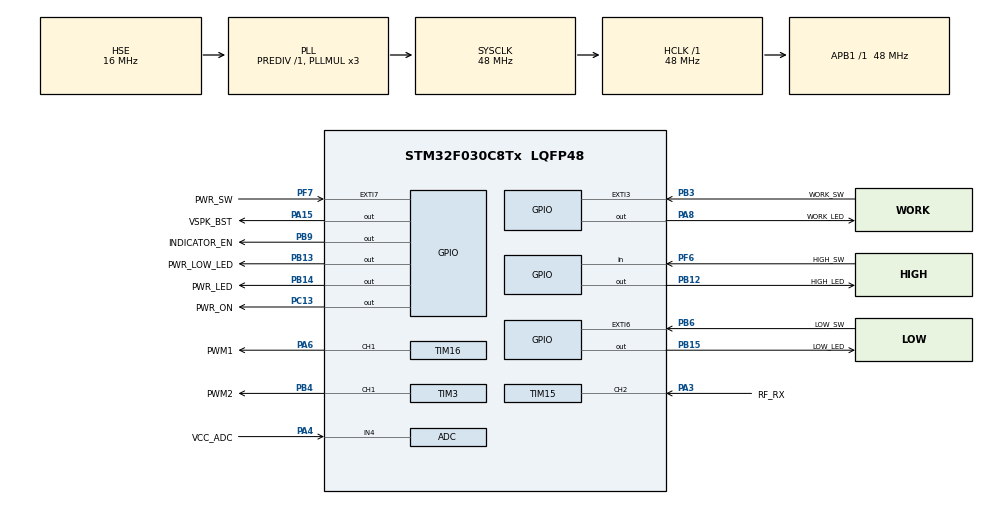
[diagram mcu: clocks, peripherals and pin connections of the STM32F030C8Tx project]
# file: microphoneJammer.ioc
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ADC.ContinuousConvMode=ENABLE
ADC.DMAContinuousRequests=ENABLE
ADC.EnableAnalogWatchDog=false
ADC.ExternalTrigConv=ADC_EXTERNALTRIGCONV_T1_TRGO
ADC.SamplingTime=ADC_SAMPLETIME_239CYCLES_5
Dma.ADC.0.Direction=DMA_PERIPH_TO_MEMORY
Dma.ADC.0.Instance=DMA1_Channel1
Dma.ADC.0.MemDataAlignment=DMA_MDATAALIGN_HALFWORD
Dma.ADC.0.MemInc=DMA_MINC_ENABLE
Dma.ADC.0.Mode=DMA_CIRCULAR
Dma.ADC.0.PeriphDataAlignment=DMA_PDATAALIGN_HALFWORD
Dma.ADC.0.PeriphInc=DMA_PINC_DISABLE
Dma.ADC.0.Priority=DMA_PRIORITY_LOW
Dma.Request0=ADC
Mcu.Family=STM32F0
Mcu.Name=STM32F030C8Tx
Mcu.Package=LQFP48
NVIC.ADC1_IRQn=true\:0\:0\:false\:false\:true\:true\:true\:true
NVIC.DMA1_Channel1_IRQn=true\:0\:0\:false\:false\:true\:false\:true\:true
NVIC.EXTI2_3_IRQn=true\:0\:0\:false\:false\:true\:true\:true\:true
NVIC.EXTI4_15_IRQn=true\:0\:0\:false\:false\:true\:true\:true\:true
NVIC.TIM14_IRQn=true\:0\:0\:false\:false\:true\:true\:true\:true
NVIC.TIM15_IRQn=true\:0\:0\:true\:false\:true\:true\:true\:true
NVIC.TIM16_IRQn=true\:0\:0\:false\:false\:true\:true\:true\:true
NVIC.TIM3_IRQn=true\:0\:0\:false\:false\:true\:true\:true\:true
PA13.Mode=Serial_Wire
PA13.Signal=SYS_SWDIO
PA14.Mode=Serial_Wire
PA14.Signal=SYS_SWCLK
PA15.GPIO_Label=VSPK_BST
PA15.Signal=GPIO_Output
PA3.GPIO_Label=RF_RX
PA3.Signal=S_TIM15_CH2
PA4.GPIO_Label=VCC_ADC
PA4.Mode=IN4
PA4.Signal=ADC_IN4
PA6.GPIO_Label=PWM1
PA6.Signal=S_TIM16_CH1
PA8.GPIO_Label=WORK_LED
PA8.Signal=GPIO_Output
PB12.GPIO_Label=HIGH_LED
PB12.Signal=GPIO_Output
PB13.GPIO_Label=PWR_LOW_LED
PB13.Signal=GPIO_Output
PB14.GPIO_Label=PWR_LED
PB14.GPIO_PuPd=GPIO_PULLDOWN
PB14.Signal=GPIO_Output
PB15.GPIO_Label=LOW_LED
PB15.Signal=GPIO_Output
PB3.GPIO_Label=WORK_SW
PB3.GPIO_ModeDefaultEXTI=GPIO_MODE_IT_FALLING
PB3.Signal=GPXTI3
PB4.GPIO_Label=PWM2
PB4.Signal=S_TIM3_CH1
PB6.GPIO_Label=LOW_SW
PB6.GPIO_ModeDefaultEXTI=GPIO_MODE_IT_FALLING
PB6.Signal=GPXTI6
PB9.GPIO_Label=INDICATOR_EN
PB9.PinState=GPIO_PIN_RESET
PB9.Signal=GPIO_Output
PC13.GPIO_Label=PWR_ON
PC13.PinState=GPIO_PIN_RESET
PC13.Signal=GPIO_Output
PF0-OSC_IN.Mode=HSE-External-Oscillator
PF0-OSC_IN.Signal=RCC_OSC_IN
PF1-OSC_OUT.Mode=HSE-External-Oscillator
PF1-OSC_OUT.Signal=RCC_OSC_OUT
PF6.GPIO_Label=HIGH_SW
PF6.Signal=GPIO_Input
PF7.GPIO_Label=PWR_SW
PF7.GPIO_ModeDefaultEXTI=GPIO_MODE_IT_FALLING
PF7.Signal=GPXTI7
ProjectManager.HeapSize=0x200
ProjectManager.StackSize=0x400
ProjectManager.TargetToolchain=CMake
RCC.AHBFreq_Value=48000000
RCC.APB1Freq_Value=48000000
RCC.APB1TimFreq_Value=48000000
RCC.EnbaleCSS=true
RCC.HCLKFreq_Value=48000000
RCC.HSE_VALUE=16000000
RCC.PLLMUL=RCC_PLL_MUL3
RCC.PLLSourceVirtual=RCC_PLLSOURCE_HSE
RCC.SYSCLKFreq_VALUE=48000000
RCC.SYSCLKSource=RCC_SYSCLKSOURCE_PLLCLK
SH.S_TIM15_CH2.0=TIM15_CH2,Input_Capture2_from_TI2
SH.S_TIM16_CH1.0=TIM16_CH1,PWM Generation1 CH1
SH.S_TIM3_CH1.0=TIM3_CH1,PWM Generation1 CH1
TIM1.AutoReloadPreload=TIM_AUTORELOAD_PRELOAD_ENABLE
TIM1.Period=124
TIM1.Prescaler=47
TIM1.TIM_MasterOutputTrigger=TIM_TRGO_UPDATE
TIM14.AutoReloadPreload=TIM_AUTORELOAD_PRELOAD_ENABLE
TIM14.Period=999
TIM14.Prescaler=47
TIM15.AutoReloadPreload=TIM_AUTORELOAD_PRELOAD_ENABLE
TIM15.Channel-Input_Capture2_from_TI2=TIM_CHANNEL_2
TIM15.ICPolarity_CH2=TIM_INPUTCHANNELPOLARITY_BOTHEDGE
TIM15.Period=65535
TIM15.Prescaler=47
TIM16.Channel=TIM_CHANNEL_1
TIM16.Period=1427
TIM16.Pulse=713
TIM3.AutoReloadPreload=TIM_AUTORELOAD_PRELOAD_ENABLE
TIM3.Channel-PWM\ Generation1\ CH1=TIM_CHANNEL_1
TIM3.OCPolarity_1=TIM_OCPOLARITY_HIGH
TIM3.Period=1919
TIM3.Pulse-PWM\ Generation1\ CH1=960
VP_TIM14_VS_ClockSourceINT.Mode=Enable_Timer
VP_TIM15_VS_ClockSourceINT.Mode=Internal
VP_TIM16_VS_ClockSourceINT.Mode=Enable_Timer
VP_TIM1_VS_ClockSourceINT.Mode=Internal
board=custom

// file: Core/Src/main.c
/* USER CODE BEGIN Header */
/**
 ******************************************************************************
 * @file           : main.c
 * @brief          : Main program body
 ******************************************************************************
 * @attention
 *
 * Copyright (c) 2026 STMicroelectronics.
 * All rights reserved.
 *
 * This software is licensed under terms that can be found in the LICENSE file
 * in the root directory of this software component.
 * If no LICENSE file comes with this software, it is provided AS-IS.
 *
 ******************************************************************************
 */
/* USER CODE END Header */
#include "main.h"

/* USER CODE BEGIN Includes */
#include <stdlib.h>
#include <stdint.h>
#include <stdbool.h>

#define Fc          25000U    // 中心频率 33kHz
#define MAX_DF      300    // 拍频最大 1000Hz
#define FRAME_SZ    30       // 帧长度50点
#define STEP_MIN    20     // 最小步长
#define STEP_MAX    20  // 最大步长
#define BASE_DF     0     // 拍频基准 150Hz
#define DUTY_ADJ    1

static uint16_t PN_seed = 0xA5A5;
uint16_t arrs[FRAME_SZ] = {};
uint16_t ccrs[FRAME_SZ] = {};
uint16_t arrs2[FRAME_SZ] = {};
uint16_t ccrs2[FRAME_SZ] = {};

// LFSR 16bit伪随机序列
static uint16_t LFSR_Next(uint16_t *seed)
{
    uint16_t bit = (*seed ^ (*seed >> 1) ^ (*seed >> 3) ^ (*seed >> 12)) & 1U;
    *seed = (*seed >> 1) | (bit << 15);
    return *seed;
}

/**
 * @brief 三角啁啾，随机步长100~200Hz，生成对称双载波数组
 * @param bufA 输出通道1频率数组
 * @param bufB 输出通道2频率数组
 */
uint8_t dutys[FRAME_SZ] = {};
void GenTriChirp_RandomStep()
{
    uint8_t i;
    int16_t df = BASE_DF;
    bool dir_up = true; // true=拍频上升；false=拍频下降
    uint16_t rnd_val = LFSR_Next(&PN_seed);
    uint16_t step = STEP_MIN + (rnd_val % (STEP_MAX - STEP_MIN + 1));

    for(i = 0; i < FRAME_SZ; i++)
    {
        if(dir_up)
        {
            df += step;
            if(df >= MAX_DF)
            {
                df = MAX_DF;
                dir_up = false; // 超过上限，切换为下降
            }
        }
        else
        {
            df -= step;
            if(df <= BASE_DF)
            {
                df = BASE_DF;
                dir_up = true; // 低于下限，切换为上升
            }
        }

        // 对称生成两路载波，中心33000  (48000000 / freqs[i]) - 1;
        arrs[i] = (48000000 / (Fc - (df / 2U))) - 1;
        ccrs[i] = ((50) * arrs[i]) / 100 + i * DUTY_ADJ; //降低占空比会影响角度干扰效果
        arrs2[i] = (48000000 / (Fc + (df / 2U))) - 1;
        ccrs2[i] = ((50) * arrs2[i]) / 100 - i * DUTY_ADJ; //降低占空比会影响角度干扰效果
    }
}

bool bfull = false;
/* USER CODE END Includes */

/* USER CODE BEGIN PTD */
typedef enum{
  PWR_SW = 1,
  WORK_SW,
  LOW_SW,
  HIGH_SW,
  START_SW,
  STOP_SW
} key_t;
typedef struct{
  GPIO_PinState work;
  GPIO_PinState high;
  GPIO_PinState low;
} state_t;
/* USER CODE END PTD */

/* USER CODE BEGIN PD */
#define SAMPLE_WINDOW 120

// 9v / (3.28v / 4096) * [10k / (53.6k + 10k)] ≈ 1767
#define PWR_LOW_RAW 1720  //为了对应电量显示模块的 0%
#define PWR_LOW_RAW_SUM 206400 // PWR_LOW_RAW * SAMPLE_WINDOW
#define PWR_LOW_RAW_SUM_2 216400 // PWR_LOW_RAW * SAMPLE_WINDOW + 10000 为了防止反复横跳

#define EV1527_SYNC_MIN 6000      // 同步码低电平最小 (us)
#define EV1527_SYNC_MAX 20000     // 同步码低电平最大 (us)
#define EV1527_BIT_TOTAL_MIN 800  // 一个位(高+低)最小总时间 (us)
#define EV1527_BIT_TOTAL_MAX 2500 // 一个位(高+低)最大总时间 (us)
#define EV1527_FRAME_LEN 24       // 24位数据
#define PAIR_FLASH_ADDR 0x0800F800 // PAIR 在 Flash 中的地址

#define TEST
/* USER CODE END PD */

ADC_HandleTypeDef hadc;
DMA_HandleTypeDef hdma_adc;

TIM_HandleTypeDef htim1;
TIM_HandleTypeDef htim3;
TIM_HandleTypeDef htim14;
TIM_HandleTypeDef htim15;
TIM_HandleTypeDef htim16;

/* USER CODE BEGIN PV */
key_t g_key = PWR_SW;
uint8_t autoSwOnce = 0;
uint32_t sysTickCnt = 0;
uint8_t blinked = 0,lastBlinked = 0;
uint8_t pwrlow = 0,pwrlow2 = 0,pwrOn = 0;//pwrlow 表示电量低
uint8_t bWorked = 0;
uint16_t adcBuf[SAMPLE_WINDOW] = {};

uint8_t g_pair = 0,g_cancelPair = 0,g_paired = 0;
state_t g_state = {0};
uint32_t g_remoteId = 0;

uint8_t pwmRun = 0;

/* USER CODE END PV */

void SystemClock_Config(void);
static void MX_GPIO_Init(void);
static void MX_DMA_Init(void);
static void MX_ADC_Init(void);
static void MX_TIM1_Init(void);
static void MX_TIM3_Init(void);
static void MX_TIM15_Init(void);
static void MX_TIM14_Init(void);
static void MX_TIM16_Init(void);
/* USER CODE BEGIN PFP */
void keyScan(void);
void stopWork(void);
void startWork(void);
uint8_t clearId();
uint32_t readId();
void recoverState();
void pwrSwitch(uint8_t bLow);
void offLeds();
void onLeds();
void genChirp(){

}
/* USER CODE END PFP */

int main(void)
{

  /* MCU Configuration--------------------------------------------------------*/

  /* Reset of all peripherals, Initializes the Flash interface and the Systick. */
    HAL_Init();

  /* Configure the system clock */
  SystemClock_Config();

  /* Initialize all configured peripherals */
  MX_GPIO_Init();
  MX_DMA_Init();
  MX_ADC_Init();
  MX_TIM1_Init();
  MX_TIM3_Init();
  MX_TIM15_Init();
  MX_TIM14_Init();
  MX_TIM16_Init();
  /* USER CODE BEGIN 2 */
  GenTriChirp_RandomStep();
  g_remoteId = readId();
  if(g_remoteId != 0xFFFFFFFF){
    g_paired = 1;
  }
  HAL_ADC_Start_DMA(&hadc, (uint32_t*)adcBuf, SAMPLE_WINDOW);
  HAL_TIM_Base_Start(&htim1);
  HAL_TIM_Base_Start_IT(&htim14);
  HAL_TIM_IC_Start_IT(&htim15, TIM_CHANNEL_2);
  HAL_TIM_PWM_Start(&htim16, TIM_CHANNEL_1);

  /* USER CODE END 2 */

  /* Infinite loop */
  /* USER CODE BEGIN WHILE */
  while (1) {
    if(pwrlow2){
      pwrlow = 1;
      continue;
    }
    if(pwrOn && pwrlow){
      static uint8_t bOnce;
      if(!bOnce){
        bOnce = 1;
        blinked = 0;
        offLeds();
        HAL_GPIO_WritePin(PWR_LED_GPIO_Port,PWR_LED_Pin,GPIO_PIN_RESET);
      }
      if(pwmRun){
        stopWork();
      }
      continue;
    }
    static uint8_t bOnce;
    if(blinked && (g_key != PWR_SW && g_key != WORK_SW && g_key != START_SW && g_key != STOP_SW)){
      if(!bOnce){
        bOnce = 1;
        sysTickCnt = 0;
      }
      if(sysTickCnt >= 600000){
        HAL_GPIO_WritePin(PWR_ON_GPIO_Port, PWR_ON_Pin, GPIO_PIN_RESET);
      }
      continue;
    }
    bOnce = 0;
    keyScan();
    if(bfull){
      bfull = 0;
      GenTriChirp_RandomStep();
    }
    /* USER CODE END WHILE */

  }
}

void SystemClock_Config(void)
{
  RCC_OscInitTypeDef RCC_OscInitStruct = {0};
  RCC_ClkInitTypeDef RCC_ClkInitStruct = {0};

  /** Initializes the RCC Oscillators according to the specified parameters
  * in the RCC_OscInitTypeDef structure.
  */
  RCC_OscInitStruct.OscillatorType = RCC_OSCILLATORTYPE_HSI14|RCC_OSCILLATORTYPE_HSE;
  RCC_OscInitStruct.HSEState = RCC_HSE_ON;
  RCC_OscInitStruct.HSI14State = RCC_HSI14_ON;
  RCC_OscInitStruct.HSI14CalibrationValue = 16;
  RCC_OscInitStruct.PLL.PLLState = RCC_PLL_ON;
  RCC_OscInitStruct.PLL.PLLSource = RCC_PLLSOURCE_HSE;
  RCC_OscInitStruct.PLL.PLLMUL = RCC_PLL_MUL3;
  RCC_OscInitStruct.PLL.PREDIV = RCC_PREDIV_DIV1;
  if (HAL_RCC_OscConfig(&RCC_OscInitStruct) != HAL_OK)
  {
    Error_Handler();
  }

  /** Initializes the CPU, AHB and APB buses clocks
  */
  RCC_ClkInitStruct.ClockType = RCC_CLOCKTYPE_HCLK|RCC_CLOCKTYPE_SYSCLK
                              |RCC_CLOCKTYPE_PCLK1;
  RCC_ClkInitStruct.SYSCLKSource = RCC_SYSCLKSOURCE_PLLCLK;
  RCC_ClkInitStruct.AHBCLKDivider = RCC_SYSCLK_DIV1;
  RCC_ClkInitStruct.APB1CLKDivider = RCC_HCLK_DIV1;

  if (HAL_RCC_ClockConfig(&RCC_ClkInitStruct, FLASH_LATENCY_1) != HAL_OK)
  {
    Error_Handler();
  }

  /** Enables the Clock Security System
  */
  HAL_RCC_EnableCSS();
}

static void MX_ADC_Init(void)
{

  ADC_ChannelConfTypeDef sConfig = {0};

  /** Configure the global features of the ADC (Clock, Resolution, Data Alignment and number of conversion)
  */
  hadc.Instance = ADC1;
  hadc.Init.ClockPrescaler = ADC_CLOCK_ASYNC_DIV1;
  hadc.Init.Resolution = ADC_RESOLUTION_12B;
  hadc.Init.DataAlign = ADC_DATAALIGN_RIGHT;
  hadc.Init.ScanConvMode = ADC_SCAN_DIRECTION_FORWARD;
  hadc.Init.EOCSelection = ADC_EOC_SINGLE_CONV;
  hadc.Init.LowPowerAutoWait = DISABLE;
  hadc.Init.LowPowerAutoPowerOff = DISABLE;
  hadc.Init.ContinuousConvMode = ENABLE;
  hadc.Init.DiscontinuousConvMode = DISABLE;
  hadc.Init.ExternalTrigConv = ADC_EXTERNALTRIGCONV_T1_TRGO;
  hadc.Init.ExternalTrigConvEdge = ADC_EXTERNALTRIGCONVEDGE_RISING;
  hadc.Init.DMAContinuousRequests = ENABLE;
  hadc.Init.Overrun = ADC_OVR_DATA_PRESERVED;
  if (HAL_ADC_Init(&hadc) != HAL_OK)
  {
    Error_Handler();
  }

  /** Configure for the selected ADC regular channel to be converted.
  */
  sConfig.Channel = ADC_CHANNEL_4;
  sConfig.Rank = ADC_RANK_CHANNEL_NUMBER;
  sConfig.SamplingTime = ADC_SAMPLETIME_239CYCLES_5;
  if (HAL_ADC_ConfigChannel(&hadc, &sConfig) != HAL_OK)
  {
    Error_Handler();
  }

}

static void MX_TIM1_Init(void)
{

  TIM_ClockConfigTypeDef sClockSourceConfig = {0};
  TIM_MasterConfigTypeDef sMasterConfig = {0};

  htim1.Instance = TIM1;
  htim1.Init.Prescaler = 47;
  htim1.Init.CounterMode = TIM_COUNTERMODE_UP;
  htim1.Init.Period = 124;
  htim1.Init.ClockDivision = TIM_CLOCKDIVISION_DIV1;
  htim1.Init.RepetitionCounter = 0;
  htim1.Init.AutoReloadPreload = TIM_AUTORELOAD_PRELOAD_ENABLE;
  if (HAL_TIM_Base_Init(&htim1) != HAL_OK)
  {
    Error_Handler();
  }
  sClockSourceConfig.ClockSource = TIM_CLOCKSOURCE_INTERNAL;
  if (HAL_TIM_ConfigClockSource(&htim1, &sClockSourceConfig) != HAL_OK)
  {
    Error_Handler();
  }
  sMasterConfig.MasterOutputTrigger = TIM_TRGO_UPDATE;
  sMasterConfig.MasterSlaveMode = TIM_MASTERSLAVEMODE_DISABLE;
  if (HAL_TIMEx_MasterConfigSynchronization(&htim1, &sMasterConfig) != HAL_OK)
  {
    Error_Handler();
  }

}

static void MX_TIM3_Init(void)
{

  TIM_MasterConfigTypeDef sMasterConfig = {0};
  TIM_OC_InitTypeDef sConfigOC = {0};

  htim3.Instance = TIM3;
  htim3.Init.Prescaler = 0;
  htim3.Init.CounterMode = TIM_COUNTERMODE_UP;
  htim3.Init.Period = 1919;
  htim3.Init.ClockDivision = TIM_CLOCKDIVISION_DIV1;
  htim3.Init.AutoReloadPreload = TIM_AUTORELOAD_PRELOAD_ENABLE;
  if (HAL_TIM_PWM_Init(&htim3) != HAL_OK)
  {
    Error_Handler();
  }
  sMasterConfig.MasterOutputTrigger = TIM_TRGO_RESET;
  sMasterConfig.MasterSlaveMode = TIM_MASTERSLAVEMODE_DISABLE;
  if (HAL_TIMEx_MasterConfigSynchronization(&htim3, &sMasterConfig) != HAL_OK)
  {
    Error_Handler();
  }
  sConfigOC.OCMode = TIM_OCMODE_PWM1;
  sConfigOC.Pulse = 960;
  sConfigOC.OCPolarity = TIM_OCPOLARITY_HIGH;
  sConfigOC.OCFastMode = TIM_OCFAST_DISABLE;
  if (HAL_TIM_PWM_ConfigChannel(&htim3, &sConfigOC, TIM_CHANNEL_1) != HAL_OK)
  {
    Error_Handler();
  }
  HAL_TIM_MspPostInit(&htim3);

}

static void MX_TIM14_Init(void)
{

  htim14.Instance = TIM14;
  htim14.Init.Prescaler = 47;
  htim14.Init.CounterMode = TIM_COUNTERMODE_UP;
  htim14.Init.Period = 999;
  htim14.Init.ClockDivision = TIM_CLOCKDIVISION_DIV1;
  htim14.Init.AutoReloadPreload = TIM_AUTORELOAD_PRELOAD_ENABLE;
  if (HAL_TIM_Base_Init(&htim14) != HAL_OK)
  {
    Error_Handler();
  }

}

static void MX_TIM15_Init(void)
{

  TIM_ClockConfigTypeDef sClockSourceConfig = {0};
  TIM_MasterConfigTypeDef sMasterConfig = {0};
  TIM_IC_InitTypeDef sConfigIC = {0};

  htim15.Instance = TIM15;
  htim15.Init.Prescaler = 47;
  htim15.Init.CounterMode = TIM_COUNTERMODE_UP;
  htim15.Init.Period = 65535;
  htim15.Init.ClockDivision = TIM_CLOCKDIVISION_DIV1;
  htim15.Init.RepetitionCounter = 0;
  htim15.Init.AutoReloadPreload = TIM_AUTORELOAD_PRELOAD_ENABLE;
  if (HAL_TIM_Base_Init(&htim15) != HAL_OK)
  {
    Error_Handler();
  }
  sClockSourceConfig.ClockSource = TIM_CLOCKSOURCE_INTERNAL;
  if (HAL_TIM_ConfigClockSource(&htim15, &sClockSourceConfig) != HAL_OK)
  {
    Error_Handler();
  }
  if (HAL_TIM_IC_Init(&htim15) != HAL_OK)
  {
    Error_Handler();
  }
  sMasterConfig.MasterOutputTrigger = TIM_TRGO_RESET;
  sMasterConfig.MasterSlaveMode = TIM_MASTERSLAVEMODE_DISABLE;
  if (HAL_TIMEx_MasterConfigSynchronization(&htim15, &sMasterConfig) != HAL_OK)
  {
    Error_Handler();
  }
  sConfigIC.ICPolarity = TIM_INPUTCHANNELPOLARITY_BOTHEDGE;
  sConfigIC.ICSelection = TIM_ICSELECTION_DIRECTTI;
  sConfigIC.ICPrescaler = TIM_ICPSC_DIV1;
  sConfigIC.ICFilter = 0;
  if (HAL_TIM_IC_ConfigChannel(&htim15, &sConfigIC, TIM_CHANNEL_2) != HAL_OK)
  {
    Error_Handler();
  }

}

static void MX_TIM16_Init(void)
{

  TIM_OC_InitTypeDef sConfigOC = {0};
  TIM_BreakDeadTimeConfigTypeDef sBreakDeadTimeConfig = {0};

  htim16.Instance = TIM16;
  htim16.Init.Prescaler = 0;
  htim16.Init.CounterMode = TIM_COUNTERMODE_UP;
  htim16.Init.Period = 1427;
  htim16.Init.ClockDivision = TIM_CLOCKDIVISION_DIV1;
  htim16.Init.RepetitionCounter = 0;
  htim16.Init.AutoReloadPreload = TIM_AUTORELOAD_PRELOAD_DISABLE;
  if (HAL_TIM_Base_Init(&htim16) != HAL_OK)
  {
    Error_Handler();
  }
  if (HAL_TIM_PWM_Init(&htim16) != HAL_OK)
  {
    Error_Handler();
  }
  sConfigOC.OCMode = TIM_OCMODE_PWM1;
  sConfigOC.Pulse = 713;
  sConfigOC.OCPolarity = TIM_OCPOLARITY_HIGH;
  sConfigOC.OCNPolarity = TIM_OCNPOLARITY_HIGH;
  sConfigOC.OCFastMode = TIM_OCFAST_DISABLE;
  sConfigOC.OCIdleState = TIM_OCIDLESTATE_RESET;
  sConfigOC.OCNIdleState = TIM_OCNIDLESTATE_RESET;
  if (HAL_TIM_PWM_ConfigChannel(&htim16, &sConfigOC, TIM_CHANNEL_1) != HAL_OK)
  {
    Error_Handler();
  }
  sBreakDeadTimeConfig.OffStateRunMode = TIM_OSSR_DISABLE;
  sBreakDeadTimeConfig.OffStateIDLEMode = TIM_OSSI_DISABLE;
  sBreakDeadTimeConfig.LockLevel = TIM_LOCKLEVEL_OFF;
  sBreakDeadTimeConfig.DeadTime = 0;
  sBreakDeadTimeConfig.BreakState = TIM_BREAK_DISABLE;
  sBreakDeadTimeConfig.BreakPolarity = TIM_BREAKPOLARITY_HIGH;
  sBreakDeadTimeConfig.AutomaticOutput = TIM_AUTOMATICOUTPUT_DISABLE;
  if (HAL_TIMEx_ConfigBreakDeadTime(&htim16, &sBreakDeadTimeConfig) != HAL_OK)
  {
    Error_Handler();
  }
  HAL_TIM_MspPostInit(&htim16);

}

static void MX_DMA_Init(void)
{

  /* DMA controller clock enable */
  __HAL_RCC_DMA1_CLK_ENABLE();

  /* DMA interrupt init */
  /* DMA1_Channel1_IRQn interrupt configuration */
  HAL_NVIC_SetPriority(DMA1_Channel1_IRQn, 0, 0);
  HAL_NVIC_EnableIRQ(DMA1_Channel1_IRQn);

}

static void MX_GPIO_Init(void)
{
  GPIO_InitTypeDef GPIO_InitStruct = {0};

  /* GPIO Ports Clock Enable */
  __HAL_RCC_GPIOC_CLK_ENABLE();
  __HAL_RCC_GPIOF_CLK_ENABLE();
  __HAL_RCC_GPIOA_CLK_ENABLE();
  __HAL_RCC_GPIOB_CLK_ENABLE();

  /*Configure GPIO pin Output Level */
  HAL_GPIO_WritePin(PWR_ON_GPIO_Port, PWR_ON_Pin, GPIO_PIN_RESET);

  /*Configure GPIO pin Output Level */
  HAL_GPIO_WritePin(GPIOB, HIGH_LED_Pin|PWR_LOW_LED_Pin|PWR_LED_Pin|LOW_LED_Pin
                          |INDICATOR_EN_Pin, GPIO_PIN_RESET);

  /*Configure GPIO pin Output Level */
  HAL_GPIO_WritePin(GPIOA, WORK_LED_Pin|VSPK_BST_Pin, GPIO_PIN_RESET);

  /*Configure GPIO pin : PWR_ON_Pin */
  GPIO_InitStruct.Pin = PWR_ON_Pin;
  GPIO_InitStruct.Mode = GPIO_MODE_OUTPUT_PP;
  GPIO_InitStruct.Pull = GPIO_NOPULL;
  GPIO_InitStruct.Speed = GPIO_SPEED_FREQ_LOW;
  HAL_GPIO_Init(PWR_ON_GPIO_Port, &GPIO_InitStruct);

  /*Configure GPIO pins : HIGH_LED_Pin PWR_LOW_LED_Pin LOW_LED_Pin INDICATOR_EN_Pin */
  GPIO_InitStruct.Pin = HIGH_LED_Pin|PWR_LOW_LED_Pin|LOW_LED_Pin|INDICATOR_EN_Pin;
  GPIO_InitStruct.Mode = GPIO_MODE_OUTPUT_PP;
  GPIO_InitStruct.Pull = GPIO_NOPULL;
  GPIO_InitStruct.Speed = GPIO_SPEED_FREQ_LOW;
  HAL_GPIO_Init(GPIOB, &GPIO_InitStruct);

  /*Configure GPIO pin : PWR_LED_Pin */
  GPIO_InitStruct.Pin = PWR_LED_Pin;
  GPIO_InitStruct.Mode = GPIO_MODE_OUTPUT_PP;
  GPIO_InitStruct.Pull = GPIO_PULLDOWN;
  GPIO_InitStruct.Speed = GPIO_SPEED_FREQ_LOW;
  HAL_GPIO_Init(PWR_LED_GPIO_Port, &GPIO_InitStruct);

  /*Configure GPIO pins : WORK_LED_Pin VSPK_BST_Pin */
  GPIO_InitStruct.Pin = WORK_LED_Pin|VSPK_BST_Pin;
  GPIO_InitStruct.Mode = GPIO_MODE_OUTPUT_PP;
  GPIO_InitStruct.Pull = GPIO_NOPULL;
  GPIO_InitStruct.Speed = GPIO_SPEED_FREQ_LOW;
  HAL_GPIO_Init(GPIOA, &GPIO_InitStruct);

  /*Configure GPIO pin : HIGH_SW_Pin */
  GPIO_InitStruct.Pin = HIGH_SW_Pin;
  GPIO_InitStruct.Mode = GPIO_MODE_INPUT;
  GPIO_InitStruct.Pull = GPIO_NOPULL;
  HAL_GPIO_Init(HIGH_SW_GPIO_Port, &GPIO_InitStruct);

  /*Configure GPIO pin : PWR_SW_Pin */
  GPIO_InitStruct.Pin = PWR_SW_Pin;
  GPIO_InitStruct.Mode = GPIO_MODE_IT_FALLING;
  GPIO_InitStruct.Pull = GPIO_NOPULL;
  HAL_GPIO_Init(PWR_SW_GPIO_Port, &GPIO_InitStruct);

  /*Configure GPIO pins : WORK_SW_Pin LOW_SW_Pin */
  GPIO_InitStruct.Pin = WORK_SW_Pin|LOW_SW_Pin;
  GPIO_InitStruct.Mode = GPIO_MODE_IT_FALLING;
  GPIO_InitStruct.Pull = GPIO_NOPULL;
  HAL_GPIO_Init(GPIOB, &GPIO_InitStruct);

  /* EXTI interrupt init*/
  HAL_NVIC_SetPriority(EXTI2_3_IRQn, 0, 0);
  HAL_NVIC_EnableIRQ(EXTI2_3_IRQn);

  HAL_NVIC_SetPriority(EXTI4_15_IRQn, 0, 0);
  HAL_NVIC_EnableIRQ(EXTI4_15_IRQn);

}

/* USER CODE BEGIN 4 */

typedef struct {
  key_t key;
  void (*shortFn)(void);
  void (*longFn)(void);
  uint16_t longMs;
} keyMap_t;

static void pwrLong(void) {
  if (!pwrOn) {
    pwrOn = 1;
    blinked = !pwrlow2;
    g_state.low = GPIO_PIN_SET;
    HAL_GPIO_WritePin(PWR_ON_GPIO_Port, PWR_ON_Pin, GPIO_PIN_SET);
    HAL_GPIO_WritePin(INDICATOR_EN_GPIO_Port, INDICATOR_EN_Pin, GPIO_PIN_SET);
  } else {
    pwrOn = 0;
    blinked = 0;
    HAL_GPIO_WritePin(PWR_ON_GPIO_Port, PWR_ON_Pin, GPIO_PIN_RESET);
    g_state.work = g_state.high = g_state.low = GPIO_PIN_RESET;
    offLeds();
    HAL_GPIO_WritePin(PWR_LED_GPIO_Port, PWR_LED_Pin, GPIO_PIN_RESET);
  }
}

static void workShort(void) {
  if (!pwrOn || pwrlow2) {
    return;
  }
  if (blinked) {
    blinked = 0;
    g_state.work = GPIO_PIN_SET;
    onLeds();
    startWork();
  } else {
    blinked = 1;
    g_state.work = GPIO_PIN_RESET;
    offLeds();
    stopWork();
  }
}

static void lowShort(void) {
  g_state.low = GPIO_PIN_SET;
  g_state.high = GPIO_PIN_RESET;
  pwrSwitch(1);
}

static void lowLong(void) {
  g_cancelPair = 1;
  g_paired = 0;
  clearId();
}

static void highShort(void) {
  g_state.high = GPIO_PIN_SET;
  g_state.low = GPIO_PIN_RESET;
  pwrSwitch(0);
}

static void highLong(void) {
  g_pair = 1;
}

const keyMap_t keyTable[] = {
  {PWR_SW,  NULL,  pwrLong,  1000},
  {WORK_SW, workShort, NULL,    0},
  {LOW_SW,  lowShort,  lowLong,  1000},
  {HIGH_SW, highShort, highLong, 1000},
};
#define KEY_NUM (sizeof(keyTable) / sizeof(keyTable[0]))

void keyScan(void) {
  if (HAL_GPIO_ReadPin(HIGH_SW_GPIO_Port, HIGH_SW_Pin) == GPIO_PIN_RESET) {
    g_key = HIGH_SW;
  }
  if (g_pair || g_cancelPair || !g_key) {
    g_key = 0;
    return;
  }
  key_t key = g_key;
  g_key = 0;
  if(key == START_SW || key == STOP_SW){
    if(!pwrOn || pwrlow2) {
      return;
    }
    if(key == START_SW){
      if (blinked) {
        blinked = 0;
        g_state.work = GPIO_PIN_SET;
        onLeds();
        startWork();
      }
    } else if(key == STOP_SW){
      if(!blinked) {
        blinked = 1;
        g_state.work = GPIO_PIN_RESET;
        offLeds();
        stopWork();
      }
    }
    return;
  }
  for (uint8_t i = 0; i < KEY_NUM; i++) {
    if (keyTable[i].key != key) {
      continue;
    }

    if (keyTable[i].longFn != NULL) {
      sysTickCnt = 0;
      uint8_t isLong = 0;
      GPIO_TypeDef *port = NULL;
      uint16_t pin = 0;

      switch (key)
      {
      case PWR_SW:
        port = PWR_SW_GPIO_Port;
        pin = PWR_SW_Pin;
        break;
      case LOW_SW:
        port = LOW_SW_GPIO_Port;
        pin = LOW_SW_Pin;
        break;
      case HIGH_SW:
        port = HIGH_SW_GPIO_Port;
        pin = HIGH_SW_Pin;
        break;
      default:
        break;
      }

      while (HAL_GPIO_ReadPin(port, pin) == GPIO_PIN_RESET) {
        if (sysTickCnt >= keyTable[i].longMs) {
          keyTable[i].longFn();
          isLong = 1;
          while (HAL_GPIO_ReadPin(port, pin) == GPIO_PIN_RESET);
          break;
        }
      }
      if (isLong) {
        break;
      }
    }
    if (keyTable[i].shortFn != NULL) {
      keyTable[i].shortFn();
    }
    break;
  }
}

void HAL_GPIO_EXTI_Callback(uint16_t GPIO_Pin) {
  switch(GPIO_Pin) {
    case PWR_SW_Pin:
      g_key = PWR_SW;
      break;
    case WORK_SW_Pin:
      g_key = WORK_SW;
      break;
    case LOW_SW_Pin:
      g_key = LOW_SW;
      break;
    default:
      break;
  }
}

void HAL_ADC_ConvCpltCallback(ADC_HandleTypeDef *hadc) {
  if (hadc->Instance == ADC1) {
    uint32_t voltSum = 0;
    for(uint16_t i = 0;i < SAMPLE_WINDOW; i++){
      voltSum += adcBuf[i];
    }
    #ifndef TEST
    static uint8_t bOnce;
    if(!bOnce){
      bOnce = 1;
      if(voltSum < PWR_LOW_RAW_SUM_2){
        pwrlow2 = 1;
      }
    }
    if(voltSum < PWR_LOW_RAW_SUM) {
      pwrlow = 1;
      return;
    }
    #endif // !TEST
  }
}

void HAL_TIM_PeriodElapsedCallback(TIM_HandleTypeDef *htim) {
  switch ((uint32_t)htim->Instance)
  {
  case (uint32_t)TIM3:
    static uint16_t period = 1919,period2 = 1919;
    static uint16_t pulseWidth = 950,pulseWidth2 = 950;
    static uint32_t cnt;
    static uint8_t idx;
    if (++cnt >= 8) {
      cnt = 0;
      pulseWidth = ccrs[idx % FRAME_SZ];
      period = arrs[idx % FRAME_SZ];

      pulseWidth2 = ccrs2[idx % FRAME_SZ];
      period2 = arrs2[idx++ % FRAME_SZ];

      TIM3->ARR = period;
      TIM3->CCR1 = pulseWidth;
      TIM16->ARR = period2;
      TIM16->CCR1 = pulseWidth2;
      if(idx >= FRAME_SZ) {
        idx = 0;
        bfull = true;
      }
    }
    break;
  case (uint32_t)TIM14:
    sysTickCnt++;
    static uint16_t led_cnt;
    if(++led_cnt >= 500) {
      led_cnt = 0;
      if(pwrlow && pwrOn) {
        static uint8_t off;
        if(off++ > 80000) {
          off = 0;
          HAL_GPIO_WritePin(PWR_ON_GPIO_Port, PWR_ON_Pin, GPIO_PIN_RESET);
        }
        HAL_GPIO_TogglePin(PWR_LOW_LED_GPIO_Port, PWR_LOW_LED_Pin);
        break;
      }
      if(blinked){
        HAL_GPIO_TogglePin(PWR_LED_GPIO_Port, PWR_LED_Pin);
      }
      static uint32_t pairTick;
      if(g_pair) {
        HAL_GPIO_TogglePin(HIGH_LED_GPIO_Port, HIGH_LED_Pin);
        static uint8_t bOnce;
        if(!bOnce){
          bOnce = 1;
          pairTick = sysTickCnt;
        }
        if(sysTickCnt - pairTick >= 5000){
          g_pair = 0;
          bOnce = 0;
          HAL_GPIO_WritePin(HIGH_LED_GPIO_Port, HIGH_LED_Pin, g_state.high);
        }
      }else if(g_cancelPair) {
        HAL_GPIO_TogglePin(LOW_LED_GPIO_Port, LOW_LED_Pin);
        static uint8_t bOnce;
        if(!bOnce){
          bOnce = 1;
          pairTick = sysTickCnt;
        }
        if(sysTickCnt - pairTick >= 2000){
          g_cancelPair = 0;
          bOnce = 0;
          HAL_GPIO_WritePin(LOW_LED_GPIO_Port, LOW_LED_Pin, g_state.low);
        }
      }
    }
    break;
  default:
    break;
  }
}

/* USER CODE BEGIN 4 */
uint8_t saveId(uint32_t id) {
  if(HAL_FLASH_Unlock() != HAL_OK) {
    return 0;
  }
  HAL_StatusTypeDef status = HAL_OK;
  do
  {
    FLASH_EraseInitTypeDef erase;
    erase.TypeErase = FLASH_TYPEERASE_PAGES;
    erase.PageAddress = PAIR_FLASH_ADDR;
    erase.NbPages = 1;
    uint32_t err;
    if((status = HAL_FLASHEx_Erase(&erase, &err)) != HAL_OK) {
      break;
    }
    status = HAL_FLASH_Program(FLASH_TYPEPROGRAM_WORD, PAIR_FLASH_ADDR, id);
  } while (0);
  HAL_FLASH_Lock();
  return status == HAL_OK;
}
uint8_t clearId(){
  return saveId(0xFFFFFFFF);
}
uint32_t readId() {
  return *(uint32_t*)PAIR_FLASH_ADDR;
}
void HAL_TIM_IC_CaptureCallback(TIM_HandleTypeDef *htim) {
  if (htim->Instance == TIM15) {
    static uint32_t frameBuf[3];
    static uint8_t frameIdx;
    static uint32_t high, low,decodeState, bitCnt, tempBuf, lastCnt;
    uint32_t currCnt = HAL_TIM_ReadCapturedValue(htim, TIM_CHANNEL_2);
    uint32_t diff = currCnt >= lastCnt ? (currCnt - lastCnt) : (65535 - lastCnt + currCnt + 1);
    lastCnt = currCnt;
    if (HAL_GPIO_ReadPin(GPIOA, GPIO_PIN_3) == GPIO_PIN_RESET) {
      high = diff;
    } else {
      low = diff;
      if(low >= EV1527_SYNC_MIN && low <= EV1527_SYNC_MAX) {
        decodeState = 1;
        bitCnt = 0;
        tempBuf = 0;
        return;
      }
      if(decodeState == 1) {
        uint32_t bitTime = high + low;
        if(bitTime < EV1527_BIT_TOTAL_MIN || bitTime > EV1527_BIT_TOTAL_MAX) {
          decodeState = 0;
          frameIdx = 0;
          return;
        }
        tempBuf <<= 1;
        if(high > (low * 1.5)) {
          tempBuf |= 1;
        }
        bitCnt++;
        if(bitCnt >= EV1527_FRAME_LEN) {
          static uint32_t lastTick,debounceTick;
          uint32_t now = HAL_GetTick();
          uint32_t data = 0;
          frameBuf[frameIdx++] = tempBuf;

          for(uint8_t i = 0; i < frameIdx; i++){
            for(uint8_t j = i + 1; j < frameIdx; j++){
              if(frameBuf[i] == frameBuf[j]){
                data = frameBuf[i];
                break;
              }
            }
            if(data){
              break;
            }
          }
          if(frameIdx >= 3) {
            frameIdx = 0;
          }
          if(data && (now - lastTick < 200)) {
            frameIdx = 0;
            uint32_t id = data >> 4;
            uint8_t btn = data & 0x0F;

            if(g_pair){
              g_pair = 0;
              saveId(id);
              g_paired = 1;
              g_remoteId = id;
              HAL_GPIO_WritePin(HIGH_LED_GPIO_Port, HIGH_LED_Pin, g_state.high);
              return;
            }
            if(g_paired && id != g_remoteId) {
              return;
            }
            if(now - debounceTick < 100){
              return;
            }
            debounceTick = now;
            switch(btn) {
            case 0x01:
              g_key = START_SW;
              break;
            case 0x02:
              g_key = LOW_SW;
              break;
            case 0x04:
              g_key = HIGH_SW;
              break;
            case 0x08:
              g_key = STOP_SW;
              break;
            default:
              break;
            }
          }
          lastTick = now;
          decodeState = 0;
          bitCnt = 0;
        }
      }
    }
  }
}

void stopWork(void)
{
  HAL_TIM_PWM_Stop(&htim16, TIM_CHANNEL_1);
  HAL_TIM_Base_Stop_IT(&htim16);
  HAL_TIM_PWM_Stop(&htim3, TIM_CHANNEL_1);
  HAL_TIM_Base_Stop_IT(&htim3);

  GPIO_InitTypeDef pwmInit = {0};
  pwmInit.Pin = PWM1_Pin;
  pwmInit.Mode = GPIO_MODE_OUTPUT_PP;
  pwmInit.Pull = GPIO_NOPULL;
  pwmInit.Speed = GPIO_SPEED_FREQ_HIGH;
  HAL_GPIO_Init(PWM1_GPIO_Port, &pwmInit);
  pwmInit.Pin = PWM2_Pin;
  HAL_GPIO_Init(PWM2_GPIO_Port, &pwmInit);

  HAL_GPIO_WritePin(PWM1_GPIO_Port, PWM1_Pin, GPIO_PIN_RESET);
  HAL_GPIO_WritePin(PWM2_GPIO_Port, PWM2_Pin, GPIO_PIN_RESET);
  pwmRun = 0;
}

void startWork(void)
{
  HAL_TIM_MspPostInit(&htim3);
  HAL_TIM_PWM_Start(&htim3, TIM_CHANNEL_1);
  HAL_TIM_Base_Start_IT(&htim3);

  HAL_TIM_MspPostInit(&htim16);
  HAL_TIM_PWM_Start(&htim16, TIM_CHANNEL_1);
  HAL_TIM_Base_Start_IT(&htim16);
  pwmRun = 1;
}

void pwrSwitch(uint8_t bLow){
  if(bLow){
    HAL_GPIO_WritePin(VSPK_BST_GPIO_Port, VSPK_BST_Pin, GPIO_PIN_RESET);
    HAL_GPIO_WritePin(LOW_LED_GPIO_Port, LOW_LED_Pin, GPIO_PIN_SET);
    HAL_GPIO_WritePin(HIGH_LED_GPIO_Port, HIGH_LED_Pin, GPIO_PIN_RESET);
  }else{
    HAL_GPIO_WritePin(VSPK_BST_GPIO_Port, VSPK_BST_Pin, GPIO_PIN_SET);
    HAL_GPIO_WritePin(HIGH_LED_GPIO_Port, HIGH_LED_Pin, GPIO_PIN_SET);
    HAL_GPIO_WritePin(LOW_LED_GPIO_Port, LOW_LED_Pin, GPIO_PIN_RESET);
  }
}

void offLeds(){
  HAL_GPIO_WritePin(PWR_LED_GPIO_Port,PWR_LED_Pin,GPIO_PIN_RESET);
  HAL_GPIO_WritePin(WORK_LED_GPIO_Port, WORK_LED_Pin, GPIO_PIN_RESET);
  HAL_GPIO_WritePin(HIGH_LED_GPIO_Port, HIGH_LED_Pin, GPIO_PIN_RESET);
  HAL_GPIO_WritePin(LOW_LED_GPIO_Port, LOW_LED_Pin, GPIO_PIN_RESET);
}

void onLeds(){
  HAL_GPIO_WritePin(PWR_LED_GPIO_Port,PWR_LED_Pin,GPIO_PIN_SET);
  HAL_GPIO_WritePin(WORK_LED_GPIO_Port, WORK_LED_Pin, g_state.work);
  HAL_GPIO_WritePin(HIGH_LED_GPIO_Port, HIGH_LED_Pin, g_state.high);
  HAL_GPIO_WritePin(LOW_LED_GPIO_Port, LOW_LED_Pin, g_state.low);
}
/* USER CODE END 4 */

void Error_Handler(void)
{
  __disable_irq();
  while (1) {
  }
}
#ifdef USE_FULL_ASSERT
/**
  * @brief  Reports the name of the source file and the source line number
  *         where the assert_param error has occurred.
  * @param  file: pointer to the source file name
  * @param  line: assert_param error line source number
  * @retval None
  */
void assert_failed(uint8_t *file, uint32_t line)
{
  /* USER CODE BEGIN 6 */
  /* User can add his own implementation to report the file name and line
     number, ex: printf("Wrong parameters value: file %s on line %d\r\n", file,
     line) */
  /* USER CODE END 6 */
}
#endif /* USE_FULL_ASSERT */
